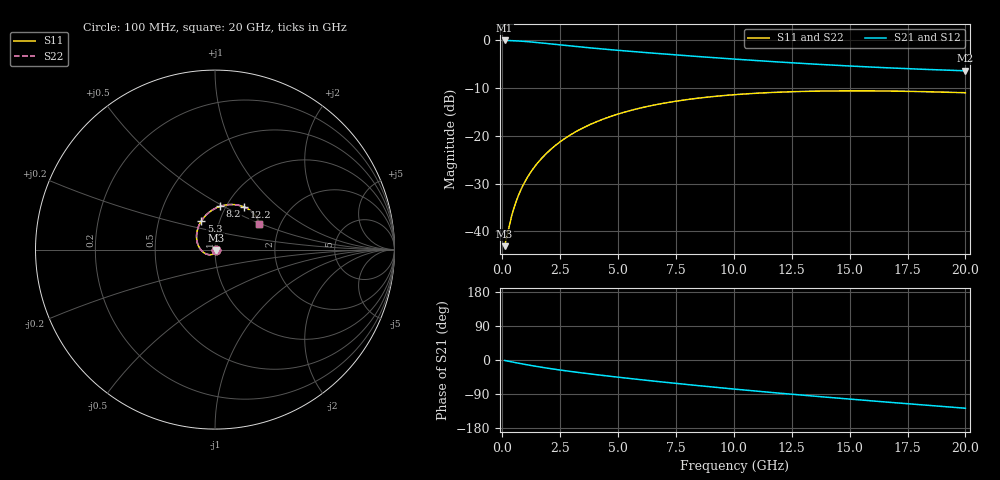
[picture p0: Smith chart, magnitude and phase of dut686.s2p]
! Touchstone file exported from HFSS 2024.1.0
!  File:  C:/UserFiles/LocalFiles/RDL_TSV_Batchsim/temp_RDL_TSV_686_1779817982.aedt
!  Generated:  02:08:10 AM May 27, 2026
!  Design:  RDL_TSV
!  Project:  temp_RDL_TSV_686_1779817982
!  Setup:  Setup1
!  Solution:  Sweep
! Variables:
!  dtsv = 9.36um
!  hbump = 3um
!  htsv = 86.38um
!  ldown = 227.24um
!  lrdl = 200.71um
!  p = 40
!  p1 = 47.76um
!  rhole = 10um
!  subl = 1484.56um
!  t = 450um
!  tdown = 4.82um
!  trdl = 4.81um
!  viad = 10um
!  wdown = 18.09um
!  wrdl = 25.72um
!  xbump = 18um
# GHz S MA R 50.000000
! Terminal data exported
! Port[1] = TM1_1_T1
! Port[2] = TM1_4_T1
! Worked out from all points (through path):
!   200 points, 100 MHz to 20 GHz, reference 50 ohm
!   highest |S21| = -0.06 dB at 100 MHz (marker M1); lowest = -6.4 dB at 20 GHz (marker M2)
!   group delay of S21, straight-line fit = 16.6 ps
!   lowest |S11| = -43.1 dB at 100 MHz (marker M3), VSWR 1.01, Z = 50.6 - j0.347 ohm
!   |S11| at or under -10 dB: start of sweep to end of sweep
!   |S22| runs from -43.1 to -10.6 dB; largest |S21 - S12| = 9.3e-15
!   S11 on the Smith chart (normalised r, x): 100 MHz: 1.01, -0.01; 5.3 GHz: 0.82, +0.27; 8.2 GHz: 0.94, +0.48; 12.2 GHz: 1.20, +0.63; 20 GHz: 1.56, +0.48
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0.1  0.006996 -29.3  0.9933 -1.3  0.9933 -1.3  0.006996 -29.3
! Gamma 0 0 0 0
! Port Impedance 50 0 50 0
0.3  0.01148 -67.8  0.9906 -3.7  0.9906 -3.7  0.01148 -67.8
0.4  0.01438 -79.9  0.9886 -4.9  0.9886 -4.9  0.01438 -79.9
0.5  0.01744 -89.8  0.9862 -6.1  0.9862 -6.1  0.01744 -89.8
0.6  0.0206 -98.1  0.9834 -7.3  0.9834 -7.3  0.0206 -98.1
0.7  0.02383 -105.5  0.9803 -8.5  0.9803 -8.5  0.02383 -105.5
0.9  0.03044 -118.4  0.973 -10.7  0.973 -10.7  0.03044 -118.4
1.2  0.04062 -134.8  0.9601 -14.0  0.9601 -14.0  0.04062 -134.8
1.4  0.04754 -144.5  0.9504 -16.2  0.9504 -16.2  0.04753 -144.5
1.7  0.05806 -157.5  0.9349 -19.2  0.9349 -19.2  0.05806 -157.5
2.2  0.07583 -176.2  0.9083 -23.9  0.9083 -23.9  0.07583 -176.2
2.8  0.09713 165.3  0.8772 -29.0  0.8772 -29.0  0.09711 165.3
3.5  0.1213 147.7  0.8438 -34.5  0.8438 -34.5  0.1213 147.7
4.3  0.1475 131.5  0.8098 -40.4  0.8098 -40.4  0.1475 131.5
5.3  0.1773 115.4  0.7722 -47.4  0.7722 -47.4  0.1773 115.4
6.8  0.2152 96.6  0.7225 -57.3  0.7225 -57.3  0.2151 96.6
8.2  0.243 83.0  0.6814 -66.1  0.6814 -66.1  0.2429 83.0
10.1  0.2698 68.5  0.6321 -77.2  0.6321 -77.2  0.2698 68.5
12.2  0.2873 56.0  0.5858 -88.8  0.5858 -88.8  0.2873 56.0
13.4  0.2925 50.2  0.5631 -95.0  0.5631 -95.0  0.2925 50.2
16.7  0.2937 37.8  0.5131 -111.5  0.5131 -111.5  0.2937 37.8
20  0.2818 29.9  0.4782 -127.3  0.4782 -127.3  0.2819 29.9
